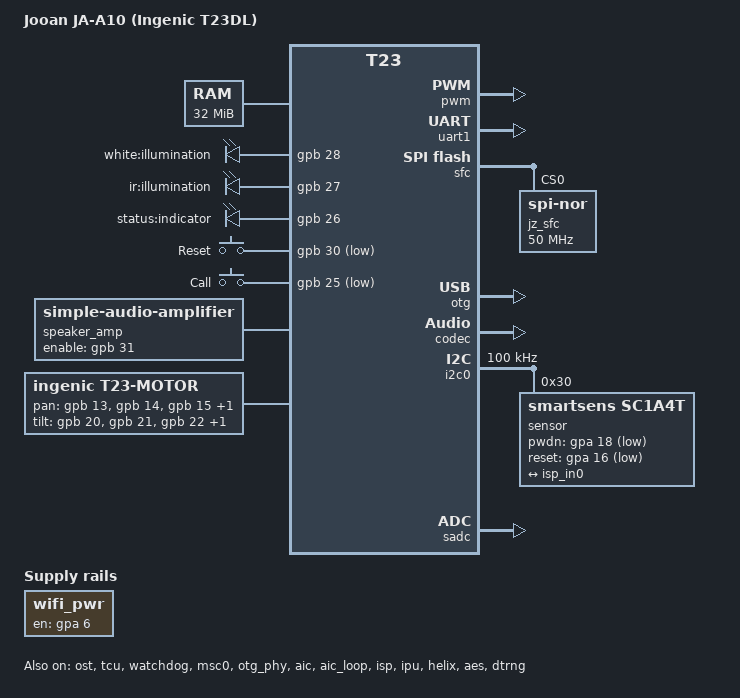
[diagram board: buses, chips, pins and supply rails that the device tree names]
// SPDX-License-Identifier: GPL-2.0
// Copyright (C) 2026 Difan Zhang
/dts-v1/;

#include "t23.dtsi"
#include <dt-bindings/gpio/gpio.h>
#include <dt-bindings/input/input.h>

/ {
	model = "Jooan JA-A10 (Ingenic T23DL)";
	compatible = "jooan,ja-a10", "ingenic,t23";

	aliases {
		serial0 = &uart0;
		serial1 = &uart1;
		serial2 = &uart2;
	};

	chosen {
		bootargs = "earlycon console=ttyS1,115200n8 loglevel=7";
		stdout-path = "serial1:115200n8";
	};

	memory@0 {
		device_type = "memory";
		reg = <0x00000000 0x02000000>;
	};

	reserved-memory {
		#address-cells = <1>;
		#size-cells = <1>;
		ranges;

		camera_reserved: camera@1800000 {
			compatible = "shared-dma-pool";
			reg = <0x01800000 0x00800000>;
			reusable;
			linux,cma-default;
		};
	};

	illumination {
		compatible = "gpio-leds";

		led-white {
			label = "white:illumination";
			gpios = <&gpb 28 GPIO_ACTIVE_HIGH>;
			default-state = "off";
		};

		led-infrared {
			label = "ir:illumination";
			gpios = <&gpb 27 GPIO_ACTIVE_HIGH>;
			default-state = "off";
		};

		led-status {
			label = "status:indicator";
			gpios = <&gpb 26 GPIO_ACTIVE_HIGH>;
			default-state = "off";
		};
	};

	keys {
		compatible = "gpio-keys";

		key-reset {
			label = "Reset";
			gpios = <&gpb 30 GPIO_ACTIVE_LOW>;
			linux,code = <KEY_RESTART>;
		};

		key-call {
			label = "Call";
			gpios = <&gpb 25 GPIO_ACTIVE_LOW>;
			linux,code = <KEY_PHONE>;
		};
	};

	wifi_pwr: wifi-regulator {
		compatible = "regulator-fixed";
		regulator-name = "wifi_power";
		gpio = <&gpa 6 GPIO_ACTIVE_HIGH>;
		enable-active-high;
		regulator-boot-on;
		regulator-always-on;
	};

	speaker_amp: speaker-amplifier {
		compatible = "simple-audio-amplifier";
		enable-gpios = <&gpb 31 GPIO_ACTIVE_HIGH>;
		sound-name-prefix = "Speaker Amp";
	};

	sound {
		compatible = "simple-audio-card";
		simple-audio-card,name = "ja-a10-audio";
		#address-cells = <1>;
		#size-cells = <0>;

		simple-audio-card,widgets =
			"Speaker", "Speaker",
			"Microphone", "Mic";
		simple-audio-card,routing =
			"Speaker Amp INL", "LOUT",
			"Speaker Amp INR", "ROUT",
			"Speaker", "Speaker Amp OUTL",
			"Speaker", "Speaker Amp OUTR",
			"MICIN", "Mic";

		simple-audio-card,aux-devs = <&speaker_amp>;

		simple-audio-card,dai-link@0 {
			reg = <0>;
			format = "i2s";
			bitclock-master = <&sound_codec>;
			frame-master = <&sound_codec>;

			cpu {
				sound-dai = <&aic>;
			};

			sound_codec: codec {
				sound-dai = <&codec 0>;
			};
		};

		simple-audio-card,dai-link@1 {
			reg = <1>;

			cpu {
				sound-dai = <&aic_loop>;
			};

			codec {
				sound-dai = <&codec 1>;
			};
		};
	};

	motor {
		compatible = "ingenic,t23-motor";
		pan-gpios = <&gpb 13 GPIO_ACTIVE_HIGH>,
			    <&gpb 14 GPIO_ACTIVE_HIGH>,
			    <&gpb 15 GPIO_ACTIVE_HIGH>,
			    <&gpb 16 GPIO_ACTIVE_HIGH>;
		tilt-gpios = <&gpb 20 GPIO_ACTIVE_HIGH>,
			     <&gpb 21 GPIO_ACTIVE_HIGH>,
			     <&gpb 22 GPIO_ACTIVE_HIGH>,
			     <&gpb 19 GPIO_ACTIVE_HIGH>;
		ingenic,pan-max-steps = <4100>;
		ingenic,tilt-max-steps = <1200>;
		ingenic,tilt-reset-steps = <700>;
		status = "okay";
	};
};

&pinctrl {
	status = "okay";
};

&gpb {
	gpio-line-names = "", "", "", "", "", "", "", "",
			  "", "", "", "", "", "", "", "",
			  "", "ircut-out", "ircut-in";
};

&ost {
	status = "okay";
};

&tcu {
	status = "okay";
};

&pwm {
	status = "okay";
};

&watchdog {
	status = "okay";
};

&pdma {
	status = "okay";
};

&uart1 {
	pinctrl-names = "default";
	pinctrl-0 = <&pins_uart1_b>;
	status = "okay";
};

&sfc {
	pinctrl-names = "default";
	pinctrl-0 = <&pins_sfc>;
	status = "okay";

	flash@0 {
		compatible = "jedec,spi-nor";
		reg = <0>;
		label = "jz_sfc";
		spi-max-frequency = <50000000>;
		spi-rx-bus-width = <2>;
		spi-tx-bus-width = <2>;
	};
};

&msc0 {
	pinctrl-names = "default";
	pinctrl-0 = <&pins_mmc0>;
	bus-width = <4>;
	max-frequency = <25000000>;
	cd-gpios = <&gpb 29 GPIO_ACTIVE_LOW>;
	status = "okay";
};

&otg_phy {
	status = "okay";
};

&otg {
	status = "okay";
};

&aic {
	status = "okay";
};

&aic_loop {
	status = "okay";
};

&codec {
	status = "okay";
};

&i2c0 {
	pinctrl-names = "default";
	pinctrl-0 = <&pins_i2c0>;
	clock-frequency = <100000>;
	status = "okay";

	sensor@30 {
		compatible = "smartsens,sc1a4t";
		reg = <0x30>;
		clocks = <&cgu CLK_CGU_CIM>;
		clock-names = "xvclk";
		pwdn-gpios = <&gpa 18 GPIO_ACTIVE_LOW>;
		reset-gpios = <&gpa 16 GPIO_ACTIVE_LOW>;

		port {
			sensor0_out: endpoint {
				remote-endpoint = <&isp_in0>;
				clock-lanes = <0>;
				data-lanes = <1>;
				link-frequencies = /bits/ 64 <360000000>;
			};
		};
	};
};

&isp {
	assigned-clocks = <&cgu CLK_CGU_ISP>;
	assigned-clock-parents = <&cgu CLK_SCLKA>;
	assigned-clock-rates = <240000000>;
	memory-region = <&camera_reserved>;
	pinctrl-names = "default";
	pinctrl-0 = <&pins_cim_mclk>;
	status = "okay";

	ports {
		#address-cells = <1>;
		#size-cells = <0>;

		port@0 {
			reg = <0>;
			isp_in0: endpoint {
				remote-endpoint = <&sensor0_out>;
				clock-lanes = <0>;
				data-lanes = <1>;
			};
		};
	};
};

&ipu {
	memory-region = <&camera_reserved>;
	status = "okay";
};

&helix {
	assigned-clocks = <&cgu CLK_CGU_VPU>;
	assigned-clock-rates = <450000000>;
	memory-region = <&camera_reserved>;
	status = "okay";
};

&aes {
	status = "okay";
};

&dtrng {
	status = "okay";
};

&sadc {
	status = "okay";
};
